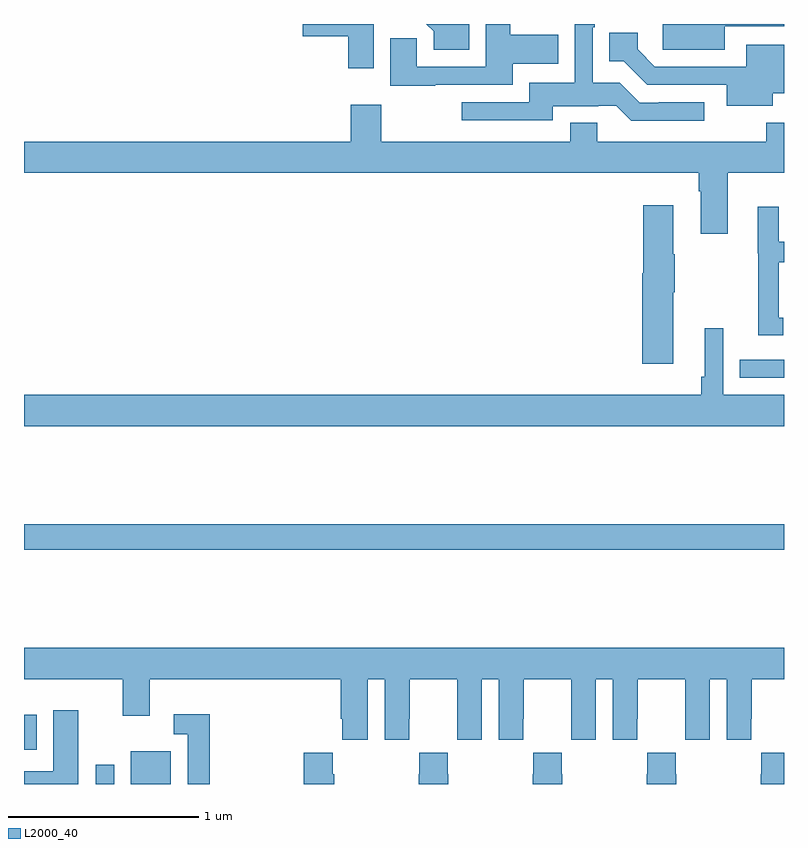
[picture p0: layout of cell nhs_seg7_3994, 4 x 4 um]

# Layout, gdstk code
import gdstk
lib = gdstk.Library(unit=1e-6, precision=1e-09)
def R(c, l, rs):  # rectangles x0, y0, x1, y1
    for r in rs: c.add(gdstk.rectangle(r[:2], r[2:], *l))
def P(c, l, *ps):  # polygons
    for p in ps: c.add(gdstk.Polygon(p, *l))
L2000_40 = (2000, 40)

nhs_seg7_3994 = lib.new_cell('nhs_seg7_3994')
R(nhs_seg7_3994, L2000_40, [(363.378,1064,363.474,1064.101), (363.563,1064,363.772,1064.173), (363,1064.181,363.066,1064.365), (363,1065.232,367,1065.368), (366.766,1066.137,367,1066.233)])
P(nhs_seg7_3994, L2000_40, [(366.688,1067.988),(367,1067.988),(367,1068),(366.362,1068),(366.362,1067.864),(366.688,1067.864)],
  [(365.344,1068),(365.118,1068),(365.157,1067.961),(365.157,1067.864),(365.344,1067.864)],
  [(364.84,1068),(364.467,1068),(364.467,1067.936),(364.706,1067.936),(364.706,1067.766),(364.84,1067.766)],
  [(366.58,1067.589),(366.34,1067.589),(366.34,1067.586),(366.24,1067.586),(366.135,1067.691),(365.994,1067.691),(365.994,1067.984),(366.004,1067.984),(366.004,1068),(365.898,1068),(365.898,1067.692),(365.66,1067.692),(365.66,1067.589),(365.304,1067.589),(365.304,1067.493),(365.782,1067.493),(365.782,1067.567),(366.023,1067.567),(366.023,1067.571),(366.117,1067.571),(366.196,1067.492),(366.58,1067.492)],
  [(365.164,1067.679),(365.572,1067.679),(365.572,1067.792),(365.813,1067.792),(365.813,1067.944),(365.559,1067.944),(365.559,1068),(365.429,1068),(365.429,1067.775),(365.067,1067.775),(365.067,1067.924),(364.928,1067.924),(364.928,1067.674),(365.164,1067.674)],
  [(366.94,1067.636),(367,1067.636),(367,1067.89),(366.8,1067.89),(366.8,1067.775),(366.321,1067.775),(366.229,1067.867),(366.229,1067.953),(366.079,1067.953),(366.079,1067.804),(366.156,1067.804),(366.281,1067.679),(366.698,1067.679),(366.698,1067.57),(366.94,1067.57)],
  [(366.703,1067.216),(367,1067.216),(367,1067.479),(366.907,1067.479),(366.907,1067.38),(366.016,1067.38),(366.016,1067.479),(365.876,1067.479),(365.876,1067.38),(364.881,1067.38),(364.881,1067.575),(364.721,1067.575),(364.721,1067.38),(363,1067.38),(363,1067.216),(366.551,1067.216),(366.551,1067.12),(366.563,1067.12),(366.563,1066.896),(366.703,1066.896)],
  [(366.418,1066.589),(366.426,1066.589),(366.426,1066.789),(366.418,1066.789),(366.418,1067.047),(366.26,1067.047),(366.26,1066.689),(366.254,1066.689),(366.254,1066.212),(366.418,1066.212)],
  [(366.997,1066.455),(366.972,1066.455),(366.972,1066.746),(367,1066.746),(367,1066.855),(366.973,1066.855),(366.973,1067.038),(366.863,1067.038),(366.863,1066.793),(366.864,1066.793),(366.864,1066.361),(366.997,1066.361)],
  [(367,1066.048),(366.681,1066.048),(366.681,1066.399),(366.584,1066.399),(366.584,1066.144),(366.565,1066.144),(366.565,1066.048),(363,1066.048),(363,1065.884),(367,1065.884)],
  [(363,1064.552),(363.521,1064.552),(363.521,1064.358),(363.661,1064.358),(363.661,1064.552),(364.667,1064.552),(364.667,1064.344),(364.676,1064.344),(364.676,1064.232),(364.81,1064.232),(364.81,1064.552),(364.898,1064.552),(364.898,1064.232),(365.028,1064.232),(365.028,1064.344),(365.029,1064.344),(365.029,1064.552),(365.279,1064.552),(365.279,1064.344),(365.28,1064.344),(365.28,1064.232),(365.41,1064.232),(365.41,1064.552),(365.498,1064.552),(365.498,1064.232),(365.628,1064.232),(365.628,1064.344),(365.629,1064.344),(365.629,1064.552),(365.879,1064.552),(365.879,1064.344),(365.88,1064.344),(365.88,1064.232),(366.01,1064.232),(366.01,1064.552),(366.098,1064.552),(366.098,1064.232),(366.228,1064.232),(366.228,1064.344),(366.229,1064.344),(366.229,1064.552),(366.479,1064.552),(366.479,1064.344),(366.48,1064.344),(366.48,1064.232),(366.61,1064.232),(366.61,1064.552),(366.698,1064.552),(366.698,1064.232),(366.828,1064.232),(366.828,1064.344),(366.829,1064.344),(366.829,1064.552),(367,1064.552),(367,1064.716),(363,1064.716)],
  [(363.286,1064.389),(363.155,1064.389),(363.155,1064.068),(363,1064.068),(363,1064),(363.286,1064)],
  [(363.977,1064.368),(363.789,1064.368),(363.789,1064.262),(363.861,1064.262),(363.861,1064),(363.977,1064)],
  [(364.632,1064.051),(364.625,1064.051),(364.625,1064.164),(364.472,1064.164),(364.472,1064),(364.632,1064)],
  [(365.232,1064.051),(365.229,1064.051),(365.229,1064.164),(365.079,1064.164),(365.079,1064.051),(365.077,1064.051),(365.077,1064),(365.232,1064)],
  [(365.832,1064.051),(365.829,1064.051),(365.829,1064.164),(365.679,1064.164),(365.679,1064.051),(365.677,1064.051),(365.677,1064),(365.832,1064)],
  [(366.432,1064.051),(366.429,1064.051),(366.429,1064.164),(366.279,1064.164),(366.279,1064.051),(366.277,1064.051),(366.277,1064),(366.432,1064)],
  [(367,1064.164),(366.879,1064.164),(366.879,1064.051),(366.877,1064.051),(366.877,1064),(367,1064)])

lib.write_gds('nhs_seg7_3994.gds')
